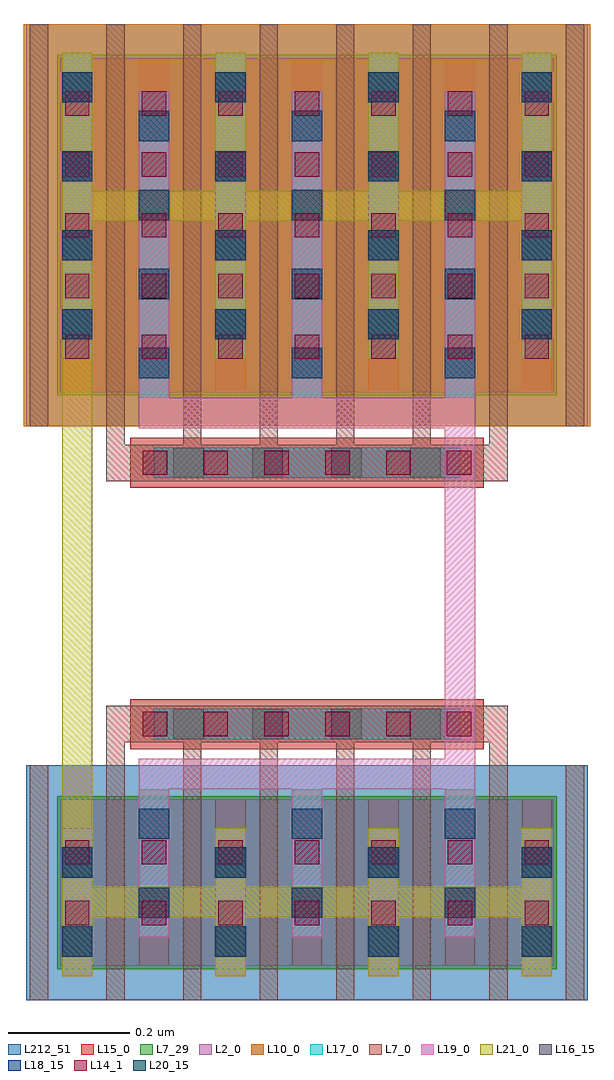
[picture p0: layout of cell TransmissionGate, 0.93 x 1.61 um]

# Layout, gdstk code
import gdstk
lib = gdstk.Library(unit=1e-6, precision=1e-09)
def R(c, l, rs):  # rectangles x0, y0, x1, y1
    for r in rs: c.add(gdstk.rectangle(r[:2], r[2:], *l))
def A(c, l, x, y, w, h, nx, ny, dx, dy):  # array of equal rectangles
    R(c, l, [(x+i*dx, y+j*dy, x+i*dx+w, y+j*dy+h) for i in range(nx) for j in range(ny)])
L2_0 = (2, 0)
L7_0 = (7, 0)
L7_29 = (7, 29)
L10_0 = (10, 0)
L14_1 = (14, 1)
L15_0 = (15, 0)
L16_15 = (16, 15)
L17_0 = (17, 0)
L18_15 = (18, 15)
L19_0 = (19, 0)
L20_15 = (20, 15)
L21_0 = (21, 0)
L212_51 = (212, 51)

viamet12met2onnmosoutput = lib.new_cell('ViaMet12Met2OnNMOSOutputInTransmissionGate')
R(viamet12met2onnmosoutput, L15_0, [(-0.025,-0.122,0.025,0.122)])
R(viamet12met2onnmosoutput, L16_15, [(-0.025,-0.09,0.025,-0.04), (-0.025,0.04,0.025,0.09)])
R(viamet12met2onnmosoutput, L17_0, [(-0.025,-0.122,0.025,0.122)])

viamet32met4onpmosoutput = lib.new_cell('ViaMet32Met4OnPMOSOutputInTransmissionGate')
R(viamet32met4onpmosoutput, L19_0, [(-0.025,-0.252,0.025,0.252)])
A(viamet32met4onpmosoutput, L20_15, -0.025, -0.22, 0.05, 0.05, 1, 4, 0, 0.13)
R(viamet32met4onpmosoutput, L21_0, [(-0.025,-0.252,0.025,0.252)])

viamet32met4onnmosoutput = lib.new_cell('ViaMet32Met4OnNMOSOutputInTransmissionGate')
R(viamet32met4onnmosoutput, L19_0, [(-0.025,-0.122,0.025,0.122)])
R(viamet32met4onnmosoutput, L20_15, [(-0.025,-0.09,0.025,-0.04), (-0.025,0.04,0.025,0.09)])
R(viamet32met4onnmosoutput, L21_0, [(-0.025,-0.122,0.025,0.122)])

pmosintransmissiongate = lib.new_cell('PMOSInTransmissionGate')
R(pmosintransmissiongate, L2_0, [(-0.406,-0.275,0.406,0.275)])
A(pmosintransmissiongate, L7_0, -0.456, -0.331, 0.03, 0.662, 8, 1, 0.126, 0)
R(pmosintransmissiongate, L7_29, [(-0.411,-0.28,0.411,0.28)])
R(pmosintransmissiongate, L10_0, [(-0.466,-0.331,0.466,0.331)])
A(pmosintransmissiongate, L14_1, -0.398, -0.22, 0.04, 0.04, 7, 5, 0.126, 0.1)
A(pmosintransmissiongate, L15_0, -0.403, -0.275, 0.05, 0.55, 7, 1, 0.126, 0)
R(pmosintransmissiongate, L212_51, [(-0.462,-0.331,0.462,0.331)])

viamet22met3onnmosoutput = lib.new_cell('ViaMet22Met3OnNMOSOutputInTransmissionGate')
R(viamet22met3onnmosoutput, L17_0, [(-0.025,-0.122,0.025,0.122)])
R(viamet22met3onnmosoutput, L18_15, [(-0.025,-0.09,0.025,-0.04), (-0.025,0.04,0.025,0.09)])
R(viamet22met3onnmosoutput, L19_0, [(-0.025,-0.122,0.025,0.122)])

viapoly2met1onnmosinputi = lib.new_cell('ViaPoly2Met1OnNMOSInputInTransmissionGate')
R(viapoly2met1onnmosinputi, L7_0, [(-0.28,-0.03,0.28,0.03)])
A(viapoly2met1onnmosinputi, L14_1, -0.27, -0.02, 0.04, 0.04, 6, 1, 0.1, 0)
R(viapoly2met1onnmosinputi, L15_0, [(-0.291,-0.041,0.291,0.041)])

viamet12met2onnmosinputi = lib.new_cell('ViaMet12Met2OnNMOSInputInTransmissionGate')
R(viamet12met2onnmosinputi, L15_0, [(-0.252,-0.025,0.252,0.025)])
A(viamet12met2onnmosinputi, L16_15, -0.22, -0.025, 0.05, 0.05, 4, 1, 0.13, 0)
R(viamet12met2onnmosinputi, L17_0, [(-0.252,-0.025,0.252,0.025)])

viamet12met2onpmosoutput = lib.new_cell('ViaMet12Met2OnPMOSOutputInTransmissionGate')
R(viamet12met2onpmosoutput, L15_0, [(-0.025,-0.252,0.025,0.252)])
A(viamet12met2onpmosoutput, L16_15, -0.025, -0.22, 0.05, 0.05, 1, 4, 0, 0.13)
R(viamet12met2onpmosoutput, L17_0, [(-0.025,-0.252,0.025,0.252)])

viamet12met2onpmosinputi = lib.new_cell('ViaMet12Met2OnPMOSInputInTransmissionGate')
R(viamet12met2onpmosinputi, L15_0, [(-0.252,-0.025,0.252,0.025)])
A(viamet12met2onpmosinputi, L16_15, -0.22, -0.025, 0.05, 0.05, 4, 1, 0.13, 0)
R(viamet12met2onpmosinputi, L17_0, [(-0.252,-0.025,0.252,0.025)])

viapoly2met1onpmosinputi = lib.new_cell('ViaPoly2Met1OnPMOSInputInTransmissionGate')
R(viapoly2met1onpmosinputi, L7_0, [(-0.28,-0.03,0.28,0.03)])
A(viapoly2met1onpmosinputi, L14_1, -0.27, -0.02, 0.04, 0.04, 6, 1, 0.1, 0)
R(viapoly2met1onpmosinputi, L15_0, [(-0.291,-0.041,0.291,0.041)])

viamet22met3onpmosoutput = lib.new_cell('ViaMet22Met3OnPMOSOutputInTransmissionGate')
R(viamet22met3onpmosoutput, L17_0, [(-0.025,-0.252,0.025,0.252)])
A(viamet22met3onpmosoutput, L18_15, -0.025, -0.22, 0.05, 0.05, 1, 4, 0, 0.13)
R(viamet22met3onpmosoutput, L19_0, [(-0.025,-0.252,0.025,0.252)])

nmosintransmissiongate = lib.new_cell('NMOSInTransmissionGate')
R(nmosintransmissiongate, L2_0, [(-0.406,-0.137,0.406,0.137)])
A(nmosintransmissiongate, L7_0, -0.456, -0.193, 0.03, 0.386, 8, 1, 0.126, 0)
R(nmosintransmissiongate, L7_29, [(-0.411,-0.142,0.411,0.142)])
A(nmosintransmissiongate, L14_1, -0.398, -0.07, 0.04, 0.04, 7, 2, 0.126, 0.1)
A(nmosintransmissiongate, L15_0, -0.403, -0.137, 0.05, 0.274, 7, 1, 0.126, 0)
R(nmosintransmissiongate, L212_51, [(-0.462,-0.193,0.462,0.193)])

transmissiongate = lib.new_cell('TransmissionGate')
transmissiongate.add(gdstk.FlexPath([(-0.378,1.508),(0.378,1.508)], 0.05, ends="flush", simple_path=True, layer=21, datatype=0))  # L21_0
transmissiongate.add(gdstk.FlexPath([(-0.277,0.573),(0.277,0.573)], 0.05, ends="flush", simple_path=True, layer=19, datatype=0))  # L19_0
transmissiongate.add(gdstk.FlexPath([(-0.315,0.655),(0.315,0.655)], 0.06, ends="flush", simple_path=True, layer=7, datatype=0))  # L7_0
transmissiongate.add(gdstk.FlexPath([(-0.315,0.394),(-0.315,0.685)], 0.03, ends="flush", simple_path=True, layer=7, datatype=0))  # L7_0
transmissiongate.add(gdstk.FlexPath([(-0.189,0.394),(-0.189,0.685)], 0.03, ends="flush", simple_path=True, layer=7, datatype=0))  # L7_0
transmissiongate.add(gdstk.FlexPath([(-0.063,0.394),(-0.063,0.685)], 0.03, ends="flush", simple_path=True, layer=7, datatype=0))  # L7_0
transmissiongate.add(gdstk.FlexPath([(0.063,0.394),(0.063,0.685)], 0.03, ends="flush", simple_path=True, layer=7, datatype=0))  # L7_0
transmissiongate.add(gdstk.FlexPath([(0.189,0.394),(0.189,0.685)], 0.03, ends="flush", simple_path=True, layer=7, datatype=0))  # L7_0
transmissiongate.add(gdstk.FlexPath([(0.315,0.394),(0.315,0.685)], 0.03, ends="flush", simple_path=True, layer=7, datatype=0))  # L7_0
transmissiongate.add(gdstk.FlexPath([(-0.378,1.476),(-0.378,0.394)], 0.05, ends="flush", simple_path=True, layer=21, datatype=0))  # L21_0
transmissiongate.add(gdstk.FlexPath([(-0.378,0.362),(0.378,0.362)], 0.05, ends="flush", simple_path=True, layer=21, datatype=0))  # L21_0
transmissiongate.add(gdstk.FlexPath([(-0.252,1.085),(0.252,1.085)], 0.082, ends="flush", simple_path=True, layer=15, datatype=0))  # L15_0
transmissiongate.add(gdstk.FlexPath([(0.252,1.476),(0.252,0.394)], 0.05, ends="flush", simple_path=True, layer=19, datatype=0))  # L19_0
transmissiongate.add(gdstk.FlexPath([(-0.252,0.655),(0.252,0.655)], 0.082, ends="flush", simple_path=True, layer=15, datatype=0))  # L15_0
transmissiongate.add(gdstk.FlexPath([(-0.315,1.476),(-0.315,1.055)], 0.03, ends="flush", simple_path=True, layer=7, datatype=0))  # L7_0
transmissiongate.add(gdstk.FlexPath([(-0.189,1.476),(-0.189,1.055)], 0.03, ends="flush", simple_path=True, layer=7, datatype=0))  # L7_0
transmissiongate.add(gdstk.FlexPath([(-0.063,1.476),(-0.063,1.055)], 0.03, ends="flush", simple_path=True, layer=7, datatype=0))  # L7_0
transmissiongate.add(gdstk.FlexPath([(0.063,1.476),(0.063,1.055)], 0.03, ends="flush", simple_path=True, layer=7, datatype=0))  # L7_0
transmissiongate.add(gdstk.FlexPath([(0.189,1.476),(0.189,1.055)], 0.03, ends="flush", simple_path=True, layer=7, datatype=0))  # L7_0
transmissiongate.add(gdstk.FlexPath([(0.315,1.476),(0.315,1.055)], 0.03, ends="flush", simple_path=True, layer=7, datatype=0))  # L7_0
transmissiongate.add(gdstk.FlexPath([(-0.315,1.085),(0.315,1.085)], 0.06, ends="flush", simple_path=True, layer=7, datatype=0))  # L7_0
transmissiongate.add(gdstk.FlexPath([(-0.277,1.167),(0.277,1.167)], 0.05, ends="flush", simple_path=True, layer=19, datatype=0))  # L19_0
transmissiongate.add(gdstk.Reference(viamet12met2onnmosoutput, (-0.252,0.426)))
transmissiongate.add(gdstk.Reference(viamet12met2onnmosoutput, (0,0.426)))
transmissiongate.add(gdstk.Reference(viamet12met2onnmosoutput, (0.252,0.426)))
transmissiongate.add(gdstk.Reference(viamet12met2onnmosoutput, (-0.378,0.362)))
transmissiongate.add(gdstk.Reference(viamet12met2onnmosoutput, (-0.126,0.362)))
transmissiongate.add(gdstk.Reference(viamet12met2onnmosoutput, (0.126,0.362)))
transmissiongate.add(gdstk.Reference(viamet12met2onnmosoutput, (0.378,0.362)))
transmissiongate.add(gdstk.Reference(viamet32met4onpmosoutput, (-0.378,1.508)))
transmissiongate.add(gdstk.Reference(viamet32met4onpmosoutput, (-0.126,1.508)))
transmissiongate.add(gdstk.Reference(viamet32met4onpmosoutput, (0.126,1.508)))
transmissiongate.add(gdstk.Reference(viamet32met4onpmosoutput, (0.378,1.508)))
transmissiongate.add(gdstk.Reference(viamet32met4onnmosoutput, (-0.378,0.362)))
transmissiongate.add(gdstk.Reference(viamet32met4onnmosoutput, (-0.126,0.362)))
transmissiongate.add(gdstk.Reference(viamet32met4onnmosoutput, (0.126,0.362)))
transmissiongate.add(gdstk.Reference(viamet32met4onnmosoutput, (0.378,0.362)))
transmissiongate.add(gdstk.Reference(pmosintransmissiongate, (0,1.476)))
transmissiongate.add(gdstk.Reference(viamet22met3onnmosoutput, (-0.252,0.426)))
transmissiongate.add(gdstk.Reference(viamet22met3onnmosoutput, (0,0.426)))
transmissiongate.add(gdstk.Reference(viamet22met3onnmosoutput, (0.252,0.426)))
transmissiongate.add(gdstk.Reference(viamet22met3onnmosoutput, (-0.378,0.362)))
transmissiongate.add(gdstk.Reference(viamet22met3onnmosoutput, (-0.126,0.362)))
transmissiongate.add(gdstk.Reference(viamet22met3onnmosoutput, (0.126,0.362)))
transmissiongate.add(gdstk.Reference(viamet22met3onnmosoutput, (0.378,0.362)))
transmissiongate.add(gdstk.Reference(viapoly2met1onnmosinputi, (0,0.655)))
transmissiongate.add(gdstk.Reference(viamet12met2onnmosinputi, (0,0.655)))
transmissiongate.add(gdstk.Reference(viamet12met2onpmosoutput, (-0.252,1.444)))
transmissiongate.add(gdstk.Reference(viamet12met2onpmosoutput, (0,1.444)))
transmissiongate.add(gdstk.Reference(viamet12met2onpmosoutput, (0.252,1.444)))
transmissiongate.add(gdstk.Reference(viamet12met2onpmosoutput, (-0.378,1.508)))
transmissiongate.add(gdstk.Reference(viamet12met2onpmosoutput, (-0.126,1.508)))
transmissiongate.add(gdstk.Reference(viamet12met2onpmosoutput, (0.126,1.508)))
transmissiongate.add(gdstk.Reference(viamet12met2onpmosoutput, (0.378,1.508)))
transmissiongate.add(gdstk.Reference(viamet12met2onpmosinputi, (0,1.085)))
transmissiongate.add(gdstk.Reference(viapoly2met1onpmosinputi, (0,1.085)))
transmissiongate.add(gdstk.Reference(viamet22met3onpmosoutput, (-0.252,1.444)))
transmissiongate.add(gdstk.Reference(viamet22met3onpmosoutput, (0,1.444)))
transmissiongate.add(gdstk.Reference(viamet22met3onpmosoutput, (0.252,1.444)))
transmissiongate.add(gdstk.Reference(viamet22met3onpmosoutput, (-0.378,1.508)))
transmissiongate.add(gdstk.Reference(viamet22met3onpmosoutput, (-0.126,1.508)))
transmissiongate.add(gdstk.Reference(viamet22met3onpmosoutput, (0.126,1.508)))
transmissiongate.add(gdstk.Reference(viamet22met3onpmosoutput, (0.378,1.508)))
transmissiongate.add(gdstk.Reference(nmosintransmissiongate, (0,0.394)))

lib.write_gds('TransmissionGate.gds')
